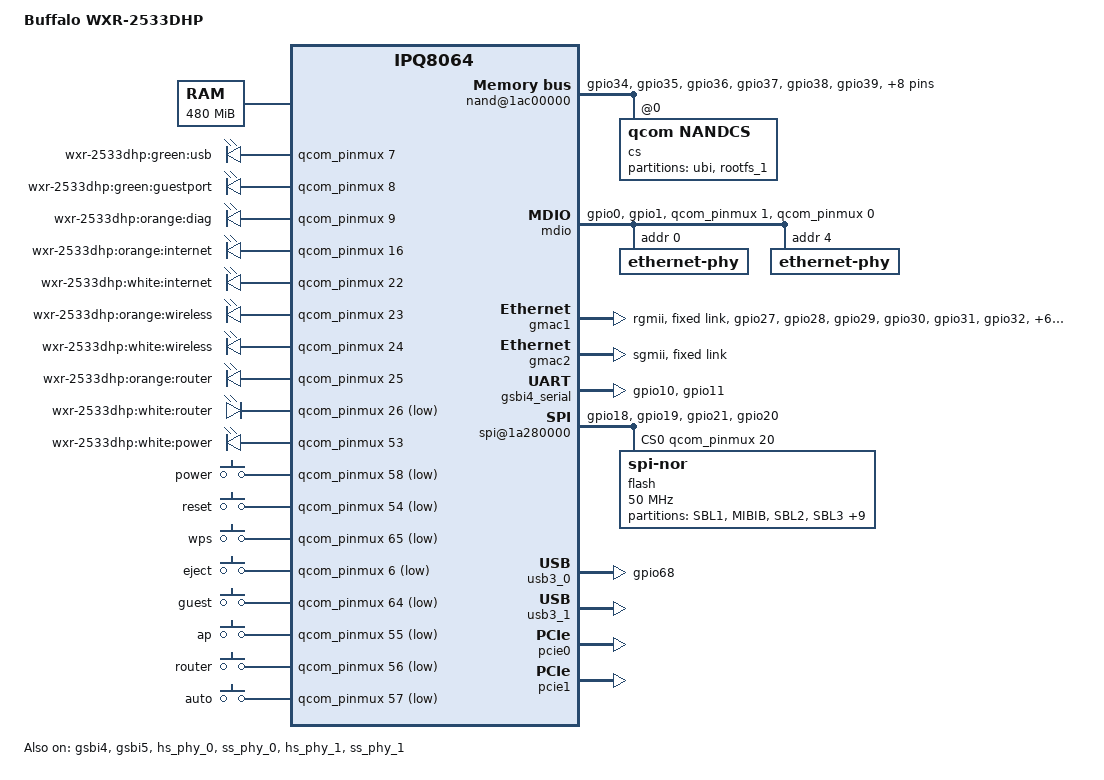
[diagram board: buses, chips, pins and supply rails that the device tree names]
// SPDX-License-Identifier: GPL-2.0-or-later OR MIT
#include "qcom-ipq8064-v2.0.dtsi"

#include <dt-bindings/input/input.h>

/ {
	model = "Buffalo WXR-2533DHP";
	compatible = "buffalo,wxr-2533dhp", "qcom,ipq8064";

	memory@42000000 {
		reg = <0x42000000 0x1e000000>;
		device_type = "memory";
	};

	reserved-memory {
		#address-cells = <1>;
		#size-cells = <1>;
		ranges;
		rsvd@41200000 {
			reg = <0x41200000 0x300000>;
			no-map;
		};
	};

	aliases {
		serial0 = &gsbi4_serial;

		led-boot = &power;
		led-failsafe = &diag;
		led-running = &power;
		led-upgrade = &power;
	};

	chosen {
		/* use "ubi_rootfs" volume in "ubi" partition as rootfs */
		bootargs = "ubi.block=0,1 root=/dev/ubiblock0_1 rootfstype=squashfs";
		stdout-path = "serial0:115200n8";
	};

	soc {
		nand@1ac00000 {
			status = "okay";

			pinctrl-0 = <&nand_pins>;
			pinctrl-names = "default";

			cs@0 {
				reg = <0>;
				compatible = "qcom,nandcs";

				nand-ecc-strength = <4>;
				nand-bus-width = <8>;
				nand-ecc-step-size = <512>;

				partitions {
					compatible = "fixed-partitions";
					#address-cells = <1>;
					#size-cells = <1>;

					ubi@0 {
						label = "ubi";
						reg = <0x0000000 0x4000000>;
					};

					rootfs_1@4000000 {
						label = "rootfs_1";
						reg = <0x4000000 0x4000000>;
					};
				};
			};
		};

		mdio {
			compatible = "virtual,mdio-gpio";
			#address-cells = <1>;
			#size-cells = <0>;
			gpios = <&qcom_pinmux 1 GPIO_ACTIVE_HIGH>,
				<&qcom_pinmux 0 GPIO_ACTIVE_HIGH>;
			pinctrl-0 = <&mdio0_pins>;
			pinctrl-names = "default";

			ethernet-phy@0 {
				reg = <0>;
				qca,ar8327-initvals = <
					0x00004 0x07600000  /* PAD0_MODE */
					0x00008 0x01000000  /* PAD5_MODE */
					0x0000c 0x00000080  /* PAD6_MODE */
					0x00050 0xcc35cc35  /* LED_CTRL0 */
					0x00054 0xca35ca35  /* LED_CTRL1 */
					0x00058 0xc935c935  /* LED_CTRL2 */
					0x0005c 0x03ffff00  /* LED_CTRL3 */
					0x000e4 0x0006a545  /* MAC_POWER_SEL */
					0x000e0 0xc74164de  /* SGMII_CTRL */
					0x0007c 0x0000007e  /* PORT0_STATUS */
					0x00094 0x0000007e  /* PORT6_STATUS */
					>;
			};

			ethernet-phy@4 {
				reg = <4>;
			};
		};
	};

	leds {
		compatible = "gpio-leds";
		pinctrl-0 = <&led_pins>;
		pinctrl-names = "default";

		usb {
			label = "wxr-2533dhp:green:usb";
			gpios = <&qcom_pinmux 7 GPIO_ACTIVE_HIGH>;
			linux,default-trigger = "usbport";
			trigger-sources = <&hub_port0 &hub_port1>;
		};

		guestport {
			label = "wxr-2533dhp:green:guestport";
			gpios = <&qcom_pinmux 8 GPIO_ACTIVE_HIGH>;
		};

		diag: diag {
			label = "wxr-2533dhp:orange:diag";
			gpios = <&qcom_pinmux 9 GPIO_ACTIVE_HIGH>;
		};

		internet_orange {
			label = "wxr-2533dhp:orange:internet";
			gpios = <&qcom_pinmux 16 GPIO_ACTIVE_HIGH>;
		};

		internet_white {
			label = "wxr-2533dhp:white:internet";
			gpios = <&qcom_pinmux 22 GPIO_ACTIVE_HIGH>;
		};

		wireless_orange {
			label = "wxr-2533dhp:orange:wireless";
			gpios = <&qcom_pinmux 23 GPIO_ACTIVE_HIGH>;
		};

		wireless_white {
			label = "wxr-2533dhp:white:wireless";
			gpios = <&qcom_pinmux 24 GPIO_ACTIVE_HIGH>;
		};

		router_orange {
			label = "wxr-2533dhp:orange:router";
			gpios = <&qcom_pinmux 25 GPIO_ACTIVE_HIGH>;
		};

		router_white {
			label = "wxr-2533dhp:white:router";
			gpios = <&qcom_pinmux 26 GPIO_ACTIVE_LOW>;
		};

		power: power {
			label = "wxr-2533dhp:white:power";
			gpios = <&qcom_pinmux 53 GPIO_ACTIVE_HIGH>;
		};
	};

	keys {
		compatible = "gpio-keys";
		pinctrl-0 = <&button_pins>;
		pinctrl-names = "default";

		power {
			label = "power";
			gpios = <&qcom_pinmux 58 GPIO_ACTIVE_LOW>;
			linux,code = <KEY_POWER>;
		};

		reset {
			label = "reset";
			gpios = <&qcom_pinmux 54 GPIO_ACTIVE_LOW>;
			linux,code = <KEY_RESTART>;
		};

		wps {
			label = "wps";
			gpios = <&qcom_pinmux 65 GPIO_ACTIVE_LOW>;
			linux,code = <KEY_WPS_BUTTON>;
		};

		eject {
			label = "eject";
			gpios = <&qcom_pinmux 6 GPIO_ACTIVE_LOW>;
			linux,code = <KEY_EJECTCD>;
		};

		guest {
			label = "guest";
			gpios = <&qcom_pinmux 64 GPIO_ACTIVE_LOW>;
			linux,code = <BTN_0>;
		};

		ap {
			label = "ap";
			gpios = <&qcom_pinmux 55 GPIO_ACTIVE_LOW>;
			linux,code = <BTN_1>;
			linux,input-type = <EV_SW>;
		};

		router {
			label = "router";
			gpios = <&qcom_pinmux 56 GPIO_ACTIVE_LOW>;
			linux,code = <BTN_1>;
			linux,input-type = <EV_SW>;
		};

		auto {
			label = "auto";
			gpios = <&qcom_pinmux 57 GPIO_ACTIVE_LOW>;
			linux,code = <BTN_1>;
			linux,input-type = <EV_SW>;
		};
	};
};

&adm_dma {
	status = "okay";
};

&gmac1 {
	status = "okay";

	phy-mode = "rgmii";
	qcom,id = <1>;

	pinctrl-0 = <&rgmii2_pins>;
	pinctrl-names = "default";

	mtd-mac-address = <&ART 6>;

	fixed-link {
		speed = <1000>;
		full-duplex;
	};
};

&gmac2 {
	status = "ok";

	phy-mode = "sgmii";
	qcom,id = <2>;

	mtd-mac-address = <&ART 0>;

	fixed-link {
		speed = <1000>;
		full-duplex;
	};
};

&gsbi4 {
	status = "okay";
	qcom,mode = <GSBI_PROT_I2C_UART>;
};

&gsbi4_serial {
	status = "okay";

	pinctrl-0 = <&uart0_pins>;
	pinctrl-names = "default";
};

&gsbi5 {
	status = "okay";
	qcom,mode = <GSBI_PROT_SPI>;

	spi@1a280000 {
		status = "okay";

		pinctrl-0 = <&spi_pins>;
		pinctrl-names = "default";

		cs-gpios = <&qcom_pinmux 20 GPIO_ACTIVE_HIGH>;

		flash@0 {
			compatible = "jedec,spi-nor";
			spi-max-frequency = <50000000>;
			reg = <0>;

			partitions {
				compatible = "fixed-partitions";
				#address-cells = <1>;
				#size-cells = <1>;

				SBL1@0 {
					label = "SBL1";
					reg = <0x0 0x10000>;
					read-only;
				};

				MIBIB@10000 {
					label = "MIBIB";
					reg = <0x10000 0x20000>;
					read-only;
				};

				SBL2@30000 {
					label = "SBL2";
					reg = <0x30000 0x30000>;
					read-only;
				};

				SBL3@60000 {
					label = "SBL3";
					reg = <0x60000 0x30000>;
					read-only;
				};

				DDRCONFIG@90000 {
					label = "DDRCONFIG";
					reg = <0x90000 0x10000>;
					read-only;
				};

				SSD@a0000 {
					label = "SSD";
					reg = <0xa0000 0x10000>;
					read-only;
				};

				TZ@b0000 {
					label = "TZ";
					reg = <0xb0000 0x30000>;
					read-only;
				};

				RPM@e0000 {
					label = "RPM";
					reg = <0xe0000 0x20000>;
					read-only;
				};

				APPSBL@100000 {
					label = "APPSBL";
					reg = <0x100000 0x70000>;
					read-only;
				};

				APPSBLENV@170000 {
					label = "APPSBLENV";
					reg = <0x170000 0x10000>;
					read-only;
				};

				ART: ART@180000 {
					label = "ART";
					reg = <0x180000 0x40000>;
					read-only;
				};

				BOOTCONFIG@1c0000 {
					label = "BOOTCONFIG";
					reg = <0x1c0000 0x10000>;
					read-only;
				};

				APPSBL_1@1d0000 {
					label = "APPSBL_1";
					reg = <0x1d0000 0x70000>;
					read-only;
				};
			};
		};
	};
};

&hs_phy_0 {		/* USB3 port 0 HS phy */
	status = "okay";
};

&ss_phy_0 {		/* USB3 port 0 SS phy */
	status = "okay";
};

&hs_phy_1 {		/* USB3 port 1 HS phy */
	status = "okay";
};

&ss_phy_1 {		/* USB3 port 1 SS phy */
	status = "okay";
};

&usb3_0 {
	status = "okay";

	pinctrl-0 = <&usb_pwr_en_pins>;
	pinctrl-names = "default";
};

&usb3_1 {
	status = "okay";
};

&dwc3_0 {
	#address-cells = <1>;
	#size-cells = <0>;

	hub_port0: port@1 {
		reg = <1>;
		#trigger-source-cells = <0>;
	};
};

&dwc3_1 {
	#address-cells = <1>;
	#size-cells = <0>;

	hub_port1: port@1 {
		reg = <1>;
		#trigger-source-cells = <0>;
	};
};

&pcie0 {
	status = "okay";
};

&pcie1 {
	status = "okay";
	force_gen1 = <1>;
};

&qcom_pinmux {
	button_pins: button_pins {
		mux {
			pins = "gpio6", "gpio54", "gpio55", "gpio56", "gpio57",
				"gpio58", "gpio64", "gpio65";
			function = "gpio";
			drive-strength = <2>;
			bias-pull-up;
		};
	};

	led_pins: led_pins {
		mux {
			pins = "gpio7", "gpio8", "gpio9", "gpio16", "gpio22",
				"gpio23", "gpio24", "gpio25", "gpio26", "gpio53";
			function = "gpio";
			drive-strength = <2>;
			bias-pull-up;
		};
	};

	uart0_pins: uart0_pins {
		mux {
			pins = "gpio10", "gpio11";
			function = "gsbi4";
			drive-strength = <12>;
			bias-disable;
		};
	};

	spi_pins: spi_pins {
		mux {
			pins = "gpio18", "gpio19", "gpio21";
			function = "gsbi5";
			bias-pull-down;
		};

		data {
			pins = "gpio18", "gpio19";
			drive-strength = <10>;
		};

		cs{
			pins = "gpio20";
			drive-strength = <10>;
			bias-pull-up;
		};

		clk {
			pins = "gpio21";
			drive-strength = <12>;
		};
	};

	mdio0_pins: mdio0_pins {
		mux {
			pins = "gpio0", "gpio1";
			function = "gpio";
			drive-strength = <8>;
			bias-disable;
		};
	};

	nand_pins: nand_pins {
		mux {
			pins = "gpio34", "gpio35", "gpio36",
			       "gpio37", "gpio38", "gpio39",
			       "gpio40", "gpio41", "gpio42",
			       "gpio43", "gpio44", "gpio45",
			       "gpio46", "gpio47";
			function = "nand";
			drive-strength = <10>;
			bias-disable;
		};

		pullups {
			pins = "gpio39";
			bias-pull-up;
		};

		hold {
			pins = "gpio40", "gpio41", "gpio42",
			       "gpio43", "gpio44", "gpio45",
			       "gpio46", "gpio47";
			bias-bus-hold;
		};
	};

	rgmii2_pins: rgmii2_pins {
		mux {
			pins = "gpio27", "gpio28", "gpio29", "gpio30", "gpio31", "gpio32",
			       "gpio51", "gpio52", "gpio59", "gpio60", "gpio61", "gpio62" ;
			function = "rgmii2";
			drive-strength = <8>;
			bias-disable;
		};
	};

	usb_pwr_en_pins: usb_pwr_en_pins {
		mux{
			pins = "gpio68";
			function = "gpio";
			drive-strength = <2>;
			bias-pull-up;
			output-high;
		};
	};
};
